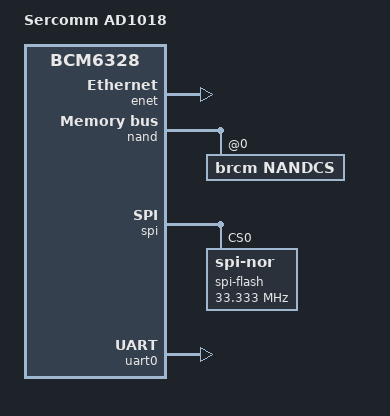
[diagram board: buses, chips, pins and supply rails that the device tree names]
// SPDX-License-Identifier: GPL-2.0+
/*
 * Copyright (C) 2020 Álvaro Fernández Rojas <noltari@gmail.com>
 */

/dts-v1/;

#include "brcm,bcm6328.dtsi"

/ {
	model = "Sercomm AD1018";
	compatible = "sercomm,ad1018", "brcm,bcm6328";

	aliases {
		serial0 = &uart0;
	};

	chosen {
		stdout-path = "serial0:115200n8";
	};
};

&enet {
	status = "okay";

	port@0 {
		compatible = "brcm,enetsw-port";
		reg = <0>;
		label = "fe1";
		brcm,phy-id = <1>;
	};

	port@1 {
		compatible = "brcm,enetsw-port";
		reg = <1>;
		label = "fe2";
		brcm,phy-id = <2>;
	};

	port@2 {
		compatible = "brcm,enetsw-port";
		reg = <2>;
		label = "fe3";
		brcm,phy-id = <3>;
	};

	port@3 {
		compatible = "brcm,enetsw-port";
		reg = <3>;
		label = "fe4";
		brcm,phy-id = <4>;
	};
};

&nand {
	status = "okay";

	nandcs@0 {
		compatible = "brcm,nandcs";
		reg = <0>;
		nand-ecc-strength = <15>;
		nand-ecc-step-size = <512>;
		brcm,nand-oob-sector-size = <64>;
	};
};

&spi {
	status = "okay";

	spi-flash@0 {
		compatible = "jedec,spi-nor";
		reg = <0>;
		#address-cells = <1>;
		#size-cells = <1>;
		spi-max-frequency = <33333334>;
	};
};

&uart0 {
	u-boot,dm-pre-reloc;
	status = "okay";
};
